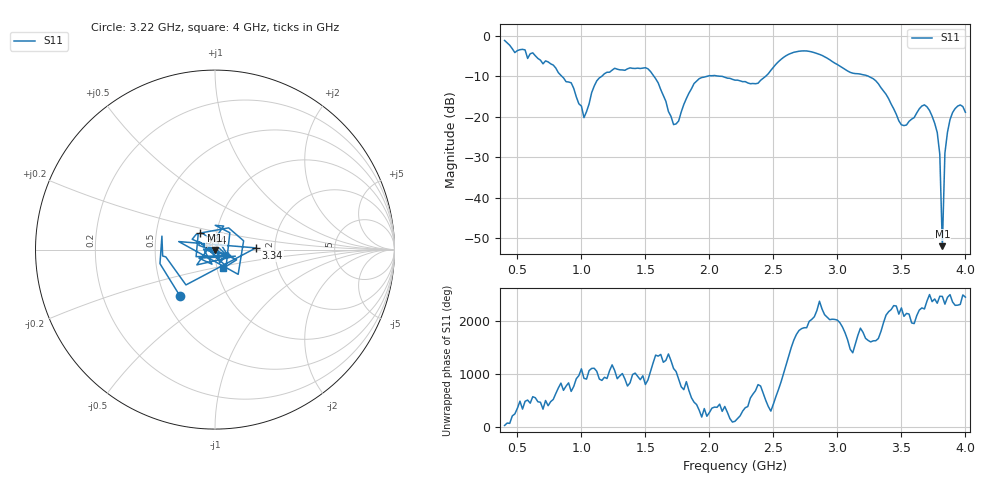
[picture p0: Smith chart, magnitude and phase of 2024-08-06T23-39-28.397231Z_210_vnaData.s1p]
!Created with skrf (http://scikit-rf.org).
# Hz S RI R 50.0
!freq ReS11 ImS11
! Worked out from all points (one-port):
!   181 points, 400 MHz to 4 GHz, reference 50 ohm
!   lowest |S11| = -52.0 dB at 3.82 GHz (marker M1), VSWR 1.01, Z = 50.2 - j0.202 ohm
!   |S11| at or under -10 dB: 1.566 GHz to 1.985 GHz (419.3 MHz wide, 23.6 % of centre); 2.075 GHz to 2.441 GHz (366.1 MHz wide, 16.2 % of centre); 3.24 GHz to end of sweep (the widest 3 of 4)
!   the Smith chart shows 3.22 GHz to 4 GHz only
!   S11 on the Smith chart (normalised r, x): 3.22 GHz: 0.60, -0.35; 3.34 GHz: 1.59, +0.03; 3.44 GHz: 0.83, +0.15; 4 GHz: 1.07, -0.23
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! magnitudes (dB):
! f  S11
! 400 MHz  -1.2
! 860 MHz  -10.4
! 920 MHz  -11.6
! 1.02 GHz  -20.2
! 1.12 GHz  -11.2
! 1.3 GHz  -8.4
! 1.52 GHz  -8.2
! 1.6 GHz  -11.7
! 1.72 GHz  -22.0
! 1.76 GHz  -21.1
! 1.92 GHz  -10.6
! 2.2 GHz  -11.0
! 2.38 GHz  -11.8
! 2.66 GHz  -4.1
! 3.1 GHz  -9.1
! 3.22 GHz  -9.8
! 3.34 GHz  -12.8
! 3.44 GHz  -18.1
! 3.5 GHz  -22.0
! 3.56 GHz  -21.2
! 3.68 GHz  -17.1
! 3.78 GHz  -23.9
! 3.8 GHz  -29.3
! 3.82 GHz  -52.0
! 3.84 GHz  -29.0
! 3.86 GHz  -23.8
! 3.92 GHz  -18.0
! 4 GHz  -18.9
